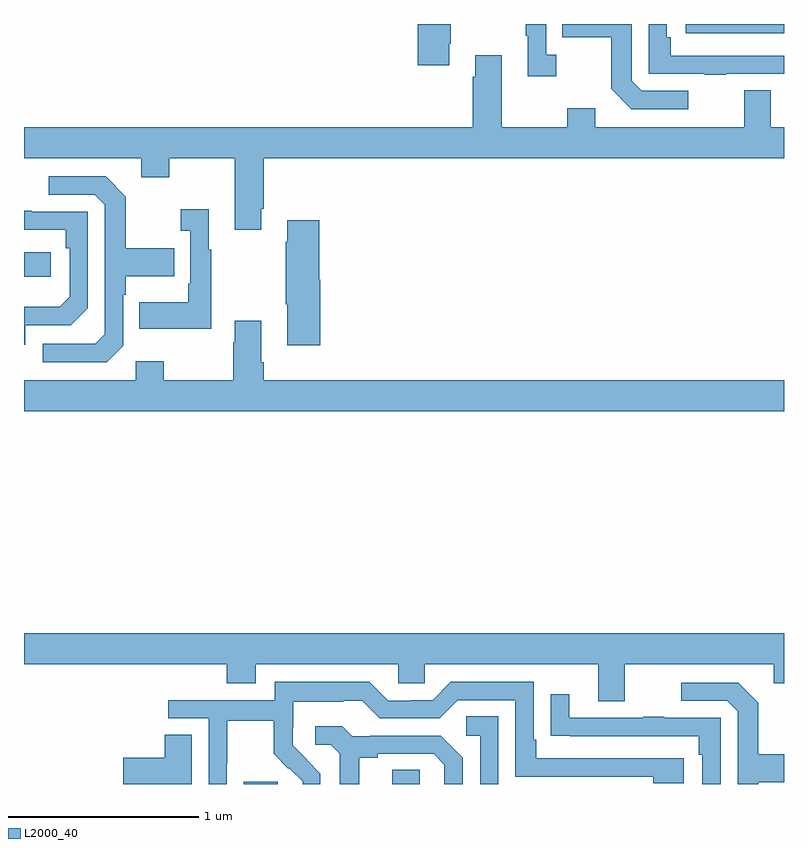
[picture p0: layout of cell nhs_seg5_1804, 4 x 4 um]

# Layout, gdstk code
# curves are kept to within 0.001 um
import gdstk
lib = gdstk.Library(unit=1e-6, precision=1e-09)
def R(c, l, rs):  # rectangles x0, y0, x1, y1
    for r in rs: c.add(gdstk.rectangle(r[:2], r[2:], *l))
def P(c, l, *ps):  # polygons
    for p in ps: c.add(gdstk.Polygon(p, *l))
L2000_40 = (2000, 40)

nhs_seg5_1804 = lib.new_cell('nhs_seg5_1804')
R(nhs_seg5_1804, L2000_40, [(220.157,854.799,220.336,854.811), (220.937,854.799,221.082,854.873), (219,857.468,219.142,857.598), (222.483,858.75,223,858.799)])
P(nhs_seg5_1804, L2000_40, [(222.496,858.447),(222.252,858.447),(222.198,858.501),(222.198,858.799),(221.833,858.799),(221.833,858.73),(222.09,858.73),(222.09,858.457),(222.195,858.351),(222.496,858.351)],
  [(221.8,858.638),(221.748,858.638),(221.748,858.799),(221.64,858.799),(221.64,858.737),(221.651,858.737),(221.651,858.525),(221.8,858.525)],
  [(221.239,858.694),(221.247,858.694),(221.247,858.799),(221.072,858.799),(221.072,858.582),(221.239,858.582)],
  [(222.695,858.537),(223,858.537),(223,858.633),(222.404,858.633),(222.404,858.73),(222.384,858.73),(222.384,858.799),(222.288,858.799),(222.288,858.537),(222.583,858.537),(222.583,858.532),(222.695,858.532)],
  [(220.249,857.827),(220.262,857.827),(220.262,858.092),(223,858.092),(223,858.256),(222.931,858.256),(222.931,858.451),(222.791,858.451),(222.791,858.256),(222.007,858.256),(222.007,858.355),(221.86,858.355),(221.86,858.256),(221.515,858.256),(221.515,858.634),(221.375,858.634),(221.375,858.521),(221.363,858.521),(221.363,858.256),(219,858.256),(219,858.092),(219.617,858.092),(219.617,857.993),(219.765,857.993),(219.765,858.092),(220.109,858.092),(220.109,857.715),(220.249,857.715)],
  [(219.522,857.106),(219.522,857.375),(219.535,857.375),(219.535,857.471),(219.791,857.471),(219.791,857.619),(219.535,857.619),(219.535,857.891),(219.429,857.997),(219.129,857.997),(219.129,857.901),(219.372,857.901),(219.426,857.847),(219.426,857.166),(219.375,857.115),(219.099,857.115),(219.099,857.019),(219.435,857.019)],
  [(219.985,857.611),(219.973,857.611),(219.973,857.824),(219.825,857.824),(219.825,857.711),(219.876,857.711),(219.876,857.431),(219.864,857.431),(219.864,857.335),(219.607,857.335),(219.607,857.195),(219.985,857.195)],
  [(219.006,857.214),(219.246,857.214),(219.336,857.304),(219.336,857.811),(219.041,857.811),(219.041,857.816),(219,857.816),(219,857.715),(219.22,857.715),(219.22,857.618),(219.24,857.618),(219.24,857.364),(219.187,857.311),(219,857.311),(219,857.112),(219.006,857.112)],
  [(220.558,857.454),(220.553,857.454),(220.553,857.767),(220.385,857.767),(220.385,857.654),(220.378,857.654),(220.378,857.323),(220.385,857.323),(220.385,857.108),(220.558,857.108)],
  [(223,856.924),(220.262,856.924),(220.262,857.02),(220.249,857.02),(220.249,857.236),(220.109,857.236),(220.109,857.123),(220.102,857.123),(220.102,856.924),(219.735,856.924),(219.735,857.023),(219.588,857.023),(219.588,856.924),(219,856.924),(219,856.76),(223,856.76)],
  [(222.163,855.428),(222.947,855.428),(222.947,855.329),(223,855.329),(223,855.592),(219,855.592),(219,855.428),(220.067,855.428),(220.067,855.329),(220.219,855.329),(220.219,855.428),(220.971,855.428),(220.971,855.33),(221.109,855.33),(221.109,855.428),(222.023,855.428),(222.023,855.234),(222.163,855.234)],
  [(220.068,854.908),(220.071,854.908),(220.071,855.132),(220.315,855.132),(220.315,854.957),(220.392,854.88),(220.395,854.883),(220.466,854.813),(220.466,854.799),(220.56,854.799),(220.56,854.854),(220.414,855.002),(220.414,855.099),(220.416,855.099),(220.416,855.233),(220.679,855.233),(220.679,855.237),(220.779,855.237),(220.872,855.144),(221.187,855.144),(221.283,855.24),(221.586,855.24),(221.586,854.838),(222.311,854.838),(222.311,854.804),(222.472,854.804),(222.472,854.934),(221.695,854.934),(221.695,855.031),(221.682,855.031),(221.682,855.336),(221.247,855.336),(221.151,855.24),(221.033,855.24),(221.033,855.237),(220.917,855.237),(220.817,855.337),(220.32,855.337),(220.32,855.24),(219.759,855.24),(219.759,855.144),(219.972,855.144),(219.972,854.799),(220.068,854.799)],
  [(222.865,854.807),(223,854.807),(223,854.955),(222.865,854.955),(222.865,855.227),(222.759,855.333),(222.459,855.333),(222.459,855.237),(222.702,855.237),(222.756,855.183),(222.756,854.799),(222.865,854.799)],
  [(222.666,855.147),(222.371,855.147),(222.371,855.152),(222.259,855.152),(222.259,855.147),(221.869,855.147),(221.869,855.271),(221.773,855.271),(221.773,855.052),(221.875,855.052),(221.875,855.051),(222.55,855.051),(222.55,854.954),(222.57,854.954),(222.57,854.799),(222.666,854.799)],
  [(221.496,855.155),(221.328,855.155),(221.328,855.054),(221.4,855.054),(221.4,854.799),(221.496,854.799)],
  [(220.765,854.936),(220.861,854.936),(220.861,854.958),(221.156,854.958),(221.213,854.901),(221.213,854.799),(221.31,854.799),(221.31,854.938),(221.194,855.054),(220.822,855.054),(220.822,855.051),(220.728,855.051),(220.676,855.103),(220.533,855.103),(220.533,855.006),(220.614,855.006),(220.661,854.959),(220.661,854.799),(220.765,854.799)],
  [(219.883,855.059),(219.74,855.059),(219.74,854.936),(219.522,854.936),(219.522,854.799),(219.883,854.799)])

lib.write_gds('nhs_seg5_1804.gds')
